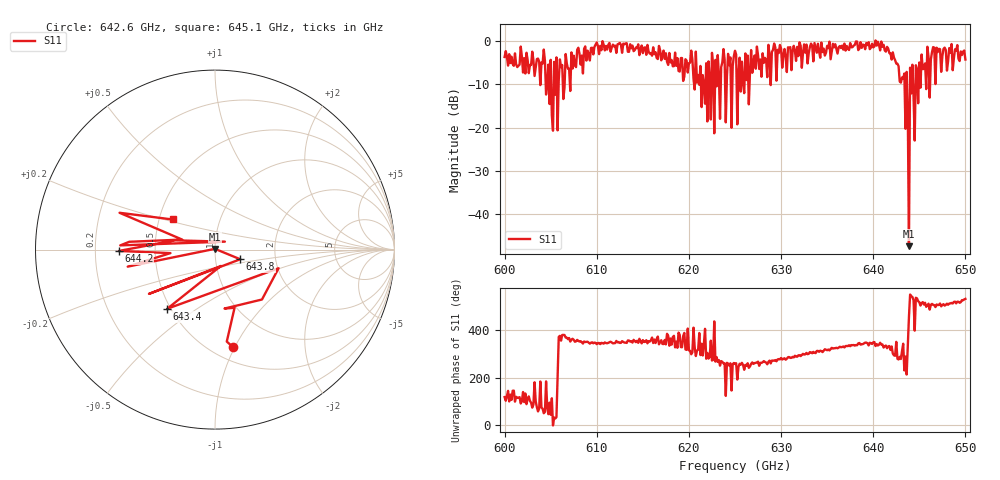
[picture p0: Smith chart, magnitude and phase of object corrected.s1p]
!Created with skrf (http://scikit-rf.org).
# GHz S MA R 50.0
!freq magS11 angS11
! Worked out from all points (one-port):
!   401 points, 600 GHz to 650 GHz, reference 50 ohm
!   lowest |S11| = -47.5 dB at 643.9 GHz (marker M1), VSWR 1.01, Z = 50 + j0.417 ohm
!   |S11| at or under -10 dB: 605.0556 GHz to 605.3339 GHz (278.2 MHz wide, 0.046 % of centre); 606.3216 GHz to 606.5112 GHz (189.6 MHz wide, 0.0313 % of centre); 621.6196 GHz to 621.8093 GHz (189.7 MHz wide, 0.0305 % of centre) (the widest 3 of 32)
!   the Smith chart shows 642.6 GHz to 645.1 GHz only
!   S11 on the Smith chart (normalised r, x): 642.6 GHz: 0.63, -0.98; 643.4 GHz: 0.48, -0.39; 643.8 GHz: 1.32, -0.15; 644.2 GHz: 0.30, -0.01; 645.1 GHz: 0.59, +0.22
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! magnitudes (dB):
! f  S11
! 600 GHz  -3.6
! 604.1 GHz  -5.2
! 605 GHz  -4.3
! 606.2 GHz  -5.5
! 608.1 GHz  -2.9
! 612.5 GHz  -0.3
! 618.8 GHz  -3.9
! 620.1 GHz  -4.9
! 621.8 GHz  -14.5
! 622.4 GHz  -18.1
! 622.5 GHz  -2.6
! 625 GHz  -2.2
! 625.5 GHz  -3.8
! 627.2 GHz  -6.3
! 631.2 GHz  -2.3
! 637.5 GHz  -0.4
! 640.8 GHz  -2.1
! 642.6 GHz  -5.2
! 643.4 GHz  -7.5
! 643.5 GHz  -20.3
! 643.6 GHz  -7.1
! 643.8 GHz  -16.4
! 643.9 GHz  -47.5
! 644.1 GHz  -12.1
! 644.2 GHz  -5.4
! 645.1 GHz  -10.7
! 646.6 GHz  -1.4
! 650 GHz  -4.2
